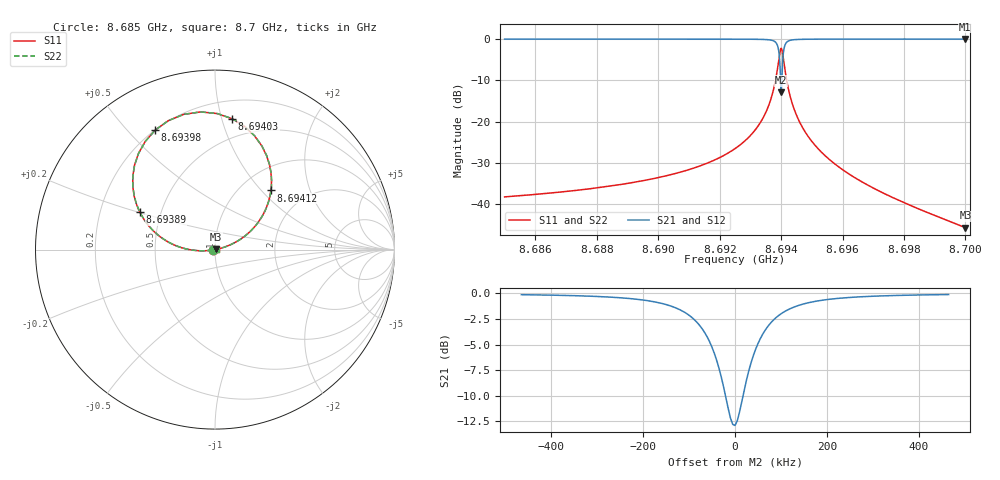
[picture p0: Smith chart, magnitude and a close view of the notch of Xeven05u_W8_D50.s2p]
! Sonnet Data File
! From: emgraph Version : 16.52
! From Project: Qubit_Xmon2_brg_para
! Data is De-embedded
! Data File Written: 11/12/2017 17:09:26
!< HDATE 11/12/2017 00:17:19
!< MDATE 11/12/2017 00:17:19
!< PARAMS
!< Lj = 11.0
!< Gap = 6.0
!< Pwid = 2000.0
!< Airgap = 6.0
!< Width = 10.0
!< Bwid = 8.0
!< Dis1 = 50.0
!< Dis2 = 56.0
!< END PARAMS
# GHZ S MA R 51.80000
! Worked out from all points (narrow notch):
!   3001 points, 8.685 GHz to 8.7 GHz, reference 51.8 ohm
!   highest |S21| = 0.00 dB at 8.69998 GHz (marker M1); lowest = -12.9 dB at 8.69401 GHz (marker M2)
!   notch at M2: 12.9 dB deep, 77.8 kHz wide at half that depth
!   lowest |S11| = -45.6 dB at 8.7 GHz (marker M3), VSWR 1.01, Z = 52.3 + j0.109 ohm
!   |S11| at or under -10 dB: start of sweep to 8.693818 GHz; 8.694183 GHz to end of sweep
!   |S22| runs from -45.6 to -2.2 dB; largest |S21 - S12| = 0
!   S11 on the Smith chart (normalised r, x): 8.685 GHz: 0.98, -0.00; 8.69389 GHz: 0.38, +0.20; 8.69398 GHz: 0.20, +0.60; 8.69403 GHz: 0.34, +1.08; 8.69412 GHz: 1.36, +1.13; 8.7 GHz: 1.01, +0.00
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8.685  0.0123 -170.3  0.9999 -80.1  0.9999 -80.1  0.0123 -170.1
!< P1 F=8.685 Eeff=(6.4468387 -2.9786e-5) Z0=(51.799366 1.19075e-4) R=0.0 C=0.0
!< P2 F=8.685 Eeff=(6.4468387 -2.9786e-5) Z0=(51.799366 1.19075e-4) R=0.0 C=0.0
8.6875  0.015 -170.5  0.9999 -80.3  0.9999 -80.3  0.015 -170.3
8.69  0.02106 -170.9  0.9997 -80.7  0.9997 -80.7  0.02106 -170.8
8.691455  0.03004 -171.5  0.9994 -81.2  0.9994 -81.2  0.03004 -171.5
8.6925  0.0472 -172.8  0.9984 -82.2  0.9984 -82.2  0.0472 -172.8
8.693435  0.1151 -177.8  0.9898 -86.1  0.9898 -86.1  0.1151 -177.9
8.693765  0.2552 171.5  0.9478 -94.2  0.9478 -94.2  0.2552 171.4
8.693895  0.4685 153.5  0.8091 -107.0  0.8091 -107.0  0.4685 153.4
8.693935  0.5951 140.5  0.6643 -114.6  0.6643 -114.6  0.5951 140.4
8.69398  0.7446 116.6  0.3509 -115.4  0.3509 -115.4  0.7446 116.5
8.694005  0.7738 99.5  0.2268 -75.8  0.2268 -75.8  0.7738 99.4
8.69403  0.7352 82.5  0.3776 -42.4  0.3776 -42.4  0.7351 82.4
8.694075  0.5794 59.2  0.6826 -45.4  0.6826 -45.4  0.5793 59.1
8.694115  0.4533 46.6  0.8199 -52.9  0.8199 -52.9  0.4533 46.5
8.694195  0.2987 33.4  0.9257 -62.2  0.9257 -62.2  0.2987 33.3
8.69432  0.1881 24.8  0.971 -68.7  0.971 -68.7  0.1881 24.7
8.6946  0.09961 18.2  0.9918 -73.8  0.9918 -73.8  0.09961 18.0
8.695  0.05785 15.1  0.9972 -76.2  0.9972 -76.2  0.05785 14.9
8.695985  0.02653 12.8  0.9993 -78.0  0.9993 -78.0  0.02653 12.5
8.6975  0.01274 11.8  0.9998 -78.8  0.9998 -78.8  0.01274 11.4
8.699985  0.005246 11.5  1 -79.2  1 -79.2  0.005245 10.7
8.7  0.005219 11.5  1 -79.2  1 -79.2  0.005219 10.7
